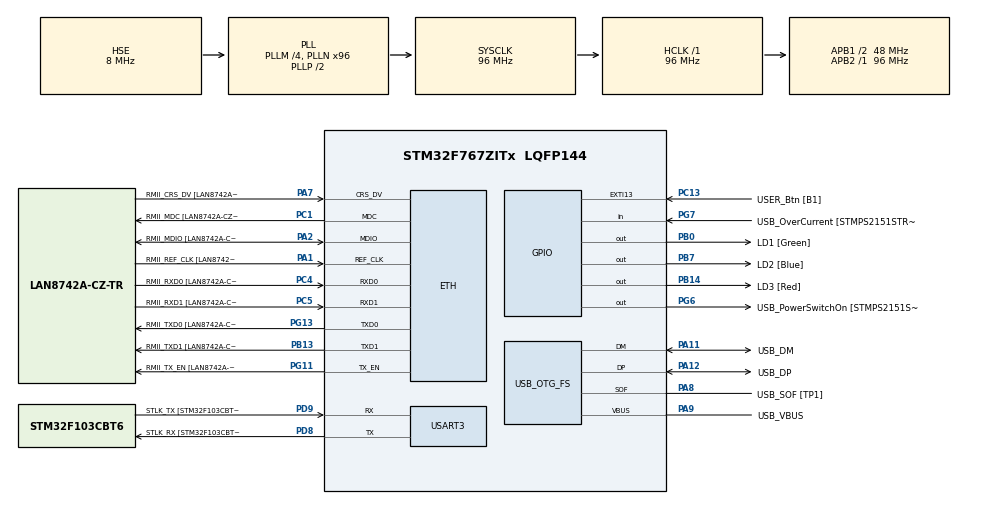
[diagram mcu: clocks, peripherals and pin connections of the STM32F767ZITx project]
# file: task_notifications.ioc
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ETH.MediaInterface=HAL_ETH_RMII_MODE
ETH.PHY_Name=LAN8742A_PHY_ADDRESS
ETH.PHY_Value=0
ETH.PhyAddress=0
FREERTOS.Tasks01=defaultTask,24,128,StartDefaultTask,Default,NULL,Dynamic,NULL,NULL;send,8,128,startSend,Default,NULL,Dynamic,NULL,NULL;recv,8,128,startRecv,Default,NULL,Dynamic,NULL,NULL
Mcu.Family=STM32F7
Mcu.Name=STM32F767ZITx
Mcu.Package=LQFP144
NVIC.PriorityGroup=NVIC_PRIORITYGROUP_4
NVIC.TIM6_DAC_IRQn=true\:15\:0\:false\:false\:true\:false\:false\:true\:true
NVIC.TimeBase=TIM6_DAC_IRQn
NVIC.TimeBaseIP=TIM6
PA1.GPIO_Label=RMII_REF_CLK [LAN8742A-CZ-TR_REFCLK0]
PA1.Mode=RMII
PA1.Signal=ETH_REF_CLK
PA10.GPIO_Label=USB_ID
PA10.Signal=USB_OTG_FS_ID
PA11.GPIO_Label=USB_DM
PA11.Mode=Device_Only
PA11.Signal=USB_OTG_FS_DM
PA12.GPIO_Label=USB_DP
PA12.Mode=Device_Only
PA12.Signal=USB_OTG_FS_DP
PA13.GPIO_Label=TMS
PA13.Mode=Serial_Wire
PA13.Signal=SYS_JTMS-SWDIO
PA14.GPIO_Label=TCK
PA14.Mode=Serial_Wire
PA14.Signal=SYS_JTCK-SWCLK
PA2.GPIO_Label=RMII_MDIO [LAN8742A-CZ-TR_MDIO]
PA2.Mode=RMII
PA2.Signal=ETH_MDIO
PA7.GPIO_Label=RMII_CRS_DV [LAN8742A-CZ-TR_CRS_DV]
PA7.Mode=RMII
PA7.Signal=ETH_CRS_DV
PA8.GPIO_Label=USB_SOF [TP1]
PA8.Mode=Activate_SOF_FS
PA8.Signal=USB_OTG_FS_SOF
PA9.GPIO_Label=USB_VBUS
PA9.Mode=Activate_VBUS
PA9.Signal=USB_OTG_FS_VBUS
PB0.GPIO_Label=LD1 [Green]
PB0.Signal=GPIO_Output
PB13.GPIO_Label=RMII_TXD1 [LAN8742A-CZ-TR_TXD1]
PB13.Mode=RMII
PB13.Signal=ETH_TXD1
PB14.GPIO_Label=LD3 [Red]
PB14.Signal=GPIO_Output
PB3.GPIO_Label=SWO
PB3.Signal=SYS_JTDO-SWO
PB7.GPIO_Label=LD2 [Blue]
PB7.Signal=GPIO_Output
PC1.GPIO_Label=RMII_MDC [LAN8742A-CZ-TR_MDC]
PC1.Mode=RMII
PC1.Signal=ETH_MDC
PC13.GPIO_Label=USER_Btn [B1]
PC13.Signal=GPXTI13
PC14/OSC32_IN.Mode=LSE-External-Oscillator
PC14/OSC32_IN.Signal=RCC_OSC32_IN
PC15/OSC32_OUT.Mode=LSE-External-Oscillator
PC15/OSC32_OUT.Signal=RCC_OSC32_OUT
PC4.GPIO_Label=RMII_RXD0 [LAN8742A-CZ-TR_RXD0]
PC4.Mode=RMII
PC4.Signal=ETH_RXD0
PC5.GPIO_Label=RMII_RXD1 [LAN8742A-CZ-TR_RXD1]
PC5.Mode=RMII
PC5.Signal=ETH_RXD1
PD8.GPIO_Label=STLK_RX [STM32F103CBT6_PA3]
PD8.Mode=Asynchronous
PD8.Signal=USART3_TX
PD9.GPIO_Label=STLK_TX [STM32F103CBT6_PA2]
PD9.Mode=Asynchronous
PD9.Signal=USART3_RX
PG11.GPIO_Label=RMII_TX_EN [LAN8742A-CZ-TR_TXEN]
PG11.Mode=RMII
PG11.Signal=ETH_TX_EN
PG13.GPIO_Label=RMII_TXD0 [LAN8742A-CZ-TR_TXD0]
PG13.Mode=RMII
PG13.Signal=ETH_TXD0
PG6.GPIO_Label=USB_PowerSwitchOn [STMPS2151STR_EN]
PG6.Signal=GPIO_Output
PG7.GPIO_Label=USB_OverCurrent [STMPS2151STR_FAULT]
PG7.Signal=GPIO_Input
PH0/OSC_IN.GPIO_Label=MCO [STM32F103CBT6_PA8]
PH0/OSC_IN.Mode=HSE-External-Clock-Source
PH0/OSC_IN.Signal=RCC_OSC_IN
PH1/OSC_OUT.Mode=HSE-External-Clock-Source
PH1/OSC_OUT.Signal=RCC_OSC_OUT
ProjectManager.HeapSize=0x200
ProjectManager.StackSize=0x400
ProjectManager.TargetToolchain=STM32CubeIDE
RCC.48MHZClocksFreq_Value=24000000
RCC.AHBFreq_Value=96000000
RCC.APB1CLKDivider=RCC_HCLK_DIV2
RCC.APB1Freq_Value=48000000
RCC.APB1TimFreq_Value=96000000
RCC.APB2Freq_Value=96000000
RCC.APB2TimFreq_Value=96000000
RCC.CortexFreq_Value=96000000
RCC.HCLKFreq_Value=96000000
RCC.HSE_VALUE=8000000
RCC.HSI_VALUE=16000000
RCC.PLLM=4
RCC.PLLMUL=RCC_PLL_MUL9
RCC.PLLN=96
RCC.PLLQ=4
RCC.PRESCALERUSB=RCC_USBCLKSOURCE_PLL_DIV1_5
RCC.SYSCLKFreq_VALUE=96000000
RCC.SYSCLKSource=RCC_SYSCLKSOURCE_PLLCLK
RCC.SYSCLKSourceVirtual=RCC_SYSCLKSOURCE_PLLCLK
RCC.USBFreq_Value=48000000
RCC.VCOOutputFreq_Value=192000000
USART3.VirtualMode-Asynchronous=VM_ASYNC
USB_OTG_FS.VirtualMode=Device_Only
VP_FREERTOS_VS_CMSIS_V2.Mode=CMSIS_V2
VP_SYS_VS_tim6.Mode=TIM6
board=NUCLEO-F767ZI

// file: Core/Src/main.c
/* USER CODE BEGIN Header */
/**
  ******************************************************************************
  * @file           : main.c
  * @brief          : Main program body
  ******************************************************************************
  * @attention
  *
  * Copyright (c) 2023 STMicroelectronics.
  * All rights reserved.
  *
  * This software is licensed under terms that can be found in the LICENSE file
  * in the root directory of this software component.
  * If no LICENSE file comes with this software, it is provided AS-IS.
  *
  ******************************************************************************
  */
/* USER CODE END Header */
#include "main.h"
#include "string.h"
#include "cmsis_os.h"

/* USER CODE BEGIN PD */
#define RED_LED_MASK 0x0001
#define BLUE_LED_MASK 0x0002
#define GREEN_LED_MASK 0x0004
/* USER CODE END PD */

#if defined ( __ICCARM__ ) /*!< IAR Compiler */
#pragma location=0x2007c000
ETH_DMADescTypeDef  DMARxDscrTab[ETH_RX_DESC_CNT]; /* Ethernet Rx DMA Descriptors */
#pragma location=0x2007c0a0
ETH_DMADescTypeDef  DMATxDscrTab[ETH_TX_DESC_CNT]; /* Ethernet Tx DMA Descriptors */

#elif defined ( __CC_ARM )  /* MDK ARM Compiler */

__attribute__((at(0x2007c000))) ETH_DMADescTypeDef  DMARxDscrTab[ETH_RX_DESC_CNT]; /* Ethernet Rx DMA Descriptors */
__attribute__((at(0x2007c0a0))) ETH_DMADescTypeDef  DMATxDscrTab[ETH_TX_DESC_CNT]; /* Ethernet Tx DMA Descriptors */

#elif defined ( __GNUC__ ) /* GNU Compiler */
ETH_DMADescTypeDef DMARxDscrTab[ETH_RX_DESC_CNT] __attribute__((section(".RxDecripSection"))); /* Ethernet Rx DMA Descriptors */
ETH_DMADescTypeDef DMATxDscrTab[ETH_TX_DESC_CNT] __attribute__((section(".TxDecripSection")));   /* Ethernet Tx DMA Descriptors */

#endif

ETH_TxPacketConfig TxConfig;

ETH_HandleTypeDef heth;

UART_HandleTypeDef huart3;

PCD_HandleTypeDef hpcd_USB_OTG_FS;

/* Definitions for defaultTask */
osThreadId_t defaultTaskHandle;
const osThreadAttr_t defaultTask_attributes = {
  .name = "defaultTask",
  .stack_size = 128 * 4,
  .priority = (osPriority_t) osPriorityNormal,
};
/* Definitions for send */
osThreadId_t sendHandle;
const osThreadAttr_t send_attributes = {
  .name = "send",
  .stack_size = 128 * 4,
  .priority = (osPriority_t) osPriorityLow,
};
/* Definitions for recv */
osThreadId_t recvHandle;
const osThreadAttr_t recv_attributes = {
  .name = "recv",
  .stack_size = 128 * 4,
  .priority = (osPriority_t) osPriorityLow,
};

void SystemClock_Config(void);
static void MX_GPIO_Init(void);
static void MX_ETH_Init(void);
static void MX_USART3_UART_Init(void);
static void MX_USB_OTG_FS_PCD_Init(void);
void StartDefaultTask(void *argument);
void startSend(void *argument);
void startRecv(void *argument);

int main(void)
{

  /* MCU Configuration--------------------------------------------------------*/

  /* Reset of all peripherals, Initializes the Flash interface and the Systick. */
  HAL_Init();

  /* Configure the system clock */
  SystemClock_Config();

  /* Initialize all configured peripherals */
  MX_GPIO_Init();
  MX_ETH_Init();
  MX_USART3_UART_Init();
  MX_USB_OTG_FS_PCD_Init();

  /* Init scheduler */
  osKernelInitialize();

  /* Create the thread(s) */
  /* creation of defaultTask */
  defaultTaskHandle = osThreadNew(StartDefaultTask, NULL, &defaultTask_attributes);

  /* creation of send */
  sendHandle = osThreadNew(startSend, NULL, &send_attributes);

  /* creation of recv */
  recvHandle = osThreadNew(startRecv, NULL, &recv_attributes);

  /* Start scheduler */
  osKernelStart();

  /* We should never get here as control is now taken by the scheduler */
  /* Infinite loop */
  while (1)
  {

  }
}

void SystemClock_Config(void)
{
  RCC_OscInitTypeDef RCC_OscInitStruct = {0};
  RCC_ClkInitTypeDef RCC_ClkInitStruct = {0};

  /** Configure LSE Drive Capability
  */
  HAL_PWR_EnableBkUpAccess();

  /** Configure the main internal regulator output voltage
  */
  __HAL_RCC_PWR_CLK_ENABLE();
  __HAL_PWR_VOLTAGESCALING_CONFIG(PWR_REGULATOR_VOLTAGE_SCALE3);

  /** Initializes the RCC Oscillators according to the specified parameters
  * in the RCC_OscInitTypeDef structure.
  */
  RCC_OscInitStruct.OscillatorType = RCC_OSCILLATORTYPE_HSE;
  RCC_OscInitStruct.HSEState = RCC_HSE_BYPASS;
  RCC_OscInitStruct.PLL.PLLState = RCC_PLL_ON;
  RCC_OscInitStruct.PLL.PLLSource = RCC_PLLSOURCE_HSE;
  RCC_OscInitStruct.PLL.PLLM = 4;
  RCC_OscInitStruct.PLL.PLLN = 96;
  RCC_OscInitStruct.PLL.PLLP = RCC_PLLP_DIV2;
  RCC_OscInitStruct.PLL.PLLQ = 4;
  RCC_OscInitStruct.PLL.PLLR = 2;
  if (HAL_RCC_OscConfig(&RCC_OscInitStruct) != HAL_OK)
  {
    Error_Handler();
  }

  /** Activate the Over-Drive mode
  */
  if (HAL_PWREx_EnableOverDrive() != HAL_OK)
  {
    Error_Handler();
  }

  /** Initializes the CPU, AHB and APB buses clocks
  */
  RCC_ClkInitStruct.ClockType = RCC_CLOCKTYPE_HCLK|RCC_CLOCKTYPE_SYSCLK
                              |RCC_CLOCKTYPE_PCLK1|RCC_CLOCKTYPE_PCLK2;
  RCC_ClkInitStruct.SYSCLKSource = RCC_SYSCLKSOURCE_PLLCLK;
  RCC_ClkInitStruct.AHBCLKDivider = RCC_SYSCLK_DIV1;
  RCC_ClkInitStruct.APB1CLKDivider = RCC_HCLK_DIV2;
  RCC_ClkInitStruct.APB2CLKDivider = RCC_HCLK_DIV1;

  if (HAL_RCC_ClockConfig(&RCC_ClkInitStruct, FLASH_LATENCY_3) != HAL_OK)
  {
    Error_Handler();
  }
}

static void MX_ETH_Init(void)
{

   static uint8_t MACAddr[6];

  heth.Instance = ETH;
  MACAddr[0] = 0x00;
  MACAddr[1] = 0x80;
  MACAddr[2] = 0xE1;
  MACAddr[3] = 0x00;
  MACAddr[4] = 0x00;
  MACAddr[5] = 0x00;
  heth.Init.MACAddr = &MACAddr[0];
  heth.Init.MediaInterface = HAL_ETH_RMII_MODE;
  heth.Init.TxDesc = DMATxDscrTab;
  heth.Init.RxDesc = DMARxDscrTab;
  heth.Init.RxBuffLen = 1524;

  if (HAL_ETH_Init(&heth) != HAL_OK)
  {
    Error_Handler();
  }

  memset(&TxConfig, 0 , sizeof(ETH_TxPacketConfig));
  TxConfig.Attributes = ETH_TX_PACKETS_FEATURES_CSUM | ETH_TX_PACKETS_FEATURES_CRCPAD;
  TxConfig.ChecksumCtrl = ETH_CHECKSUM_IPHDR_PAYLOAD_INSERT_PHDR_CALC;
  TxConfig.CRCPadCtrl = ETH_CRC_PAD_INSERT;

}

static void MX_USART3_UART_Init(void)
{

  huart3.Instance = USART3;
  huart3.Init.BaudRate = 115200;
  huart3.Init.WordLength = UART_WORDLENGTH_8B;
  huart3.Init.StopBits = UART_STOPBITS_1;
  huart3.Init.Parity = UART_PARITY_NONE;
  huart3.Init.Mode = UART_MODE_TX_RX;
  huart3.Init.HwFlowCtl = UART_HWCONTROL_NONE;
  huart3.Init.OverSampling = UART_OVERSAMPLING_16;
  huart3.Init.OneBitSampling = UART_ONE_BIT_SAMPLE_DISABLE;
  huart3.AdvancedInit.AdvFeatureInit = UART_ADVFEATURE_NO_INIT;
  if (HAL_UART_Init(&huart3) != HAL_OK)
  {
    Error_Handler();
  }

}

static void MX_USB_OTG_FS_PCD_Init(void)
{

  hpcd_USB_OTG_FS.Instance = USB_OTG_FS;
  hpcd_USB_OTG_FS.Init.dev_endpoints = 6;
  hpcd_USB_OTG_FS.Init.speed = PCD_SPEED_FULL;
  hpcd_USB_OTG_FS.Init.dma_enable = DISABLE;
  hpcd_USB_OTG_FS.Init.phy_itface = PCD_PHY_EMBEDDED;
  hpcd_USB_OTG_FS.Init.Sof_enable = ENABLE;
  hpcd_USB_OTG_FS.Init.low_power_enable = DISABLE;
  hpcd_USB_OTG_FS.Init.lpm_enable = DISABLE;
  hpcd_USB_OTG_FS.Init.vbus_sensing_enable = ENABLE;
  hpcd_USB_OTG_FS.Init.use_dedicated_ep1 = DISABLE;
  if (HAL_PCD_Init(&hpcd_USB_OTG_FS) != HAL_OK)
  {
    Error_Handler();
  }

}

static void MX_GPIO_Init(void)
{
  GPIO_InitTypeDef GPIO_InitStruct = {0};

  /* GPIO Ports Clock Enable */
  __HAL_RCC_GPIOC_CLK_ENABLE();
  __HAL_RCC_GPIOH_CLK_ENABLE();
  __HAL_RCC_GPIOA_CLK_ENABLE();
  __HAL_RCC_GPIOB_CLK_ENABLE();
  __HAL_RCC_GPIOD_CLK_ENABLE();
  __HAL_RCC_GPIOG_CLK_ENABLE();

  /*Configure GPIO pin Output Level */
  HAL_GPIO_WritePin(GPIOB, LD1_Pin|LD3_Pin|LD2_Pin, GPIO_PIN_RESET);

  /*Configure GPIO pin Output Level */
  HAL_GPIO_WritePin(USB_PowerSwitchOn_GPIO_Port, USB_PowerSwitchOn_Pin, GPIO_PIN_RESET);

  /*Configure GPIO pin : USER_Btn_Pin */
  GPIO_InitStruct.Pin = USER_Btn_Pin;
  GPIO_InitStruct.Mode = GPIO_MODE_IT_RISING;
  GPIO_InitStruct.Pull = GPIO_NOPULL;
  HAL_GPIO_Init(USER_Btn_GPIO_Port, &GPIO_InitStruct);

  /*Configure GPIO pins : LD1_Pin LD3_Pin LD2_Pin */
  GPIO_InitStruct.Pin = LD1_Pin|LD3_Pin|LD2_Pin;
  GPIO_InitStruct.Mode = GPIO_MODE_OUTPUT_PP;
  GPIO_InitStruct.Pull = GPIO_NOPULL;
  GPIO_InitStruct.Speed = GPIO_SPEED_FREQ_LOW;
  HAL_GPIO_Init(GPIOB, &GPIO_InitStruct);

  /*Configure GPIO pin : USB_PowerSwitchOn_Pin */
  GPIO_InitStruct.Pin = USB_PowerSwitchOn_Pin;
  GPIO_InitStruct.Mode = GPIO_MODE_OUTPUT_PP;
  GPIO_InitStruct.Pull = GPIO_NOPULL;
  GPIO_InitStruct.Speed = GPIO_SPEED_FREQ_LOW;
  HAL_GPIO_Init(USB_PowerSwitchOn_GPIO_Port, &GPIO_InitStruct);

  /*Configure GPIO pin : USB_OverCurrent_Pin */
  GPIO_InitStruct.Pin = USB_OverCurrent_Pin;
  GPIO_InitStruct.Mode = GPIO_MODE_INPUT;
  GPIO_InitStruct.Pull = GPIO_NOPULL;
  HAL_GPIO_Init(USB_OverCurrent_GPIO_Port, &GPIO_InitStruct);

}

void StartDefaultTask(void *argument)
{
	  for(;;)
	  {
	    osDelay(1);
	  }
}

void startSend(void *argument)
{
  /* USER CODE BEGIN startSend */
  /* Infinite loop */
	while(1)
	{
		//send the notification to recvTask - turning on the Red LED
		//since we're overwriting the value, even if another notification is pending
		//there is no need to check the return value (see docs for xTaskNofify in header)
		xTaskNotify( recvHandle, RED_LED_MASK, eSetValueWithoutOverwrite);
		vTaskDelay(200);

		xTaskNotify( recvHandle, BLUE_LED_MASK, eSetValueWithOverwrite);
		vTaskDelay(200);

		xTaskNotify( recvHandle, GREEN_LED_MASK, eSetValueWithOverwrite);
		vTaskDelay(200);

		xTaskNotify( recvHandle, RED_LED_MASK | BLUE_LED_MASK | GREEN_LED_MASK, eSetValueWithOverwrite);
		vTaskDelay(200);

		xTaskNotify( recvHandle,0, eSetValueWithOverwrite);
		vTaskDelay(200);
	}
  /* USER CODE END startSend */
}

void startRecv(void *argument)
{
  /* USER CODE BEGIN startRecv */
  /* Infinite loop */
	while(1)
	{
		//wait for hte next notification value, clearing it to 0
		//after receiving
		uint32_t notificationvalue = ulTaskNotifyTake( pdTRUE, portMAX_DELAY );
		if((notificationvalue & RED_LED_MASK) != 0)
			HAL_GPIO_WritePin(GPIOB, GPIO_PIN_0, GPIO_PIN_SET);
		else
			HAL_GPIO_WritePin(GPIOB, GPIO_PIN_0, GPIO_PIN_RESET);

		if((notificationvalue & BLUE_LED_MASK) != 0)
			HAL_GPIO_WritePin(GPIOB, GPIO_PIN_7, GPIO_PIN_SET);
		else
			HAL_GPIO_WritePin(GPIOB, GPIO_PIN_7, GPIO_PIN_RESET);

		if((notificationvalue & GREEN_LED_MASK) != 0)
			HAL_GPIO_WritePin(GPIOB, GPIO_PIN_14, GPIO_PIN_SET);
		else
			HAL_GPIO_WritePin(GPIOB, GPIO_PIN_14, GPIO_PIN_RESET);
	}

  /* USER CODE END startRecv */
}

void HAL_TIM_PeriodElapsedCallback(TIM_HandleTypeDef *htim)
{
  if (htim->Instance == TIM6) {
    HAL_IncTick();
  }
}

void Error_Handler(void)
{
  __disable_irq();
  while (1)
  {
  }
}
